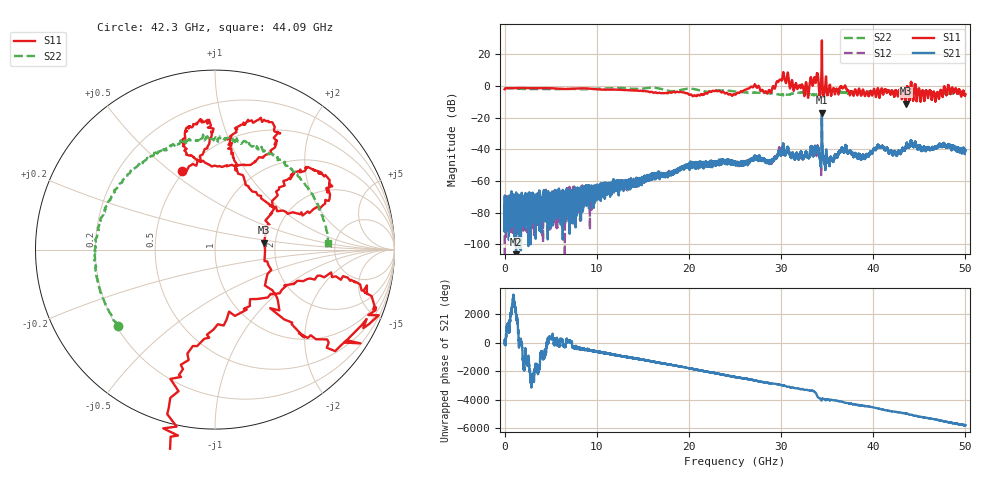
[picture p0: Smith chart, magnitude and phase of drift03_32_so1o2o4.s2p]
!Created with skrf (http://scikit-rf.org).
# Hz S RI R 50.0
!freq ReS11 ImS11 ReS21 ImS21 ReS12 ImS12 ReS22 ImS22
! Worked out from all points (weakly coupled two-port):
!   10000 points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, 5.3 MHz to 50 GHz, reference 50 ohm
!   highest |S21| = -16.91 dB at 34.43 GHz (marker M1); lowest = -111.4 dB at 1.25 GHz (marker M2)
!   lowest |S11| = -11.1 dB at 43.52 GHz (marker M3), VSWR 1.77, Z = 87.5 + j7.46 ohm
!   |S11| at or under -10 dB: 43.49351 GHz to 43.54175 GHz (48.24 MHz wide, 0.111 % of centre); 46.74975 GHz to 46.75042 GHz (667.7 kHz wide, 0.00143 % of centre)
!   |S22| runs from -5.8 to -1.1 dB; largest |S21 - S12| = 0.038
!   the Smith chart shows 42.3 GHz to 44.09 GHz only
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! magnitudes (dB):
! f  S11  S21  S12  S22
! 5.3 MHz  -2.1  -76.6  -107.8  -1.3
! 1.25 GHz  -1.4  -111.4  -85.3  -1.7
! 8.34 GHz  -1.5  -69.4  -67.2  -2.1
! 16.67 GHz  -4.4  -57.2  -55.8  -1.5
! 20.26 GHz  -5.4  -49.4  -49.8  -1.8
! 25.01 GHz  -5.5  -49.9  -48.8  -3.5
! 27.02 GHz  -0.4  -45.1  -45.7  -4.3
! 28.72 GHz  -2.5  -46.9  -48.7  -4.5
! 30.14 GHz  4.4  -40.0  -40.5  -5.7
! 32.74 GHz  2.0  -41.9  -42.1  -4.6
! 33.34 GHz  2.6  -40.0  -40.1  -5.5
! 33.82 GHz  4.0  -42.1  -41.4  -5.7
! 34.43 GHz  28.7  -16.9  -18.8  -4.6
! 35.3 GHz  0.6  -48.3  -47.1  -3.4
! 36.85 GHz  -0.7  -42.0  -41.6  -4.3
! 38.86 GHz  -2.7  -43.8  -44.0  -3.2
! 40.57 GHz  -2.9  -37.4  -38.1  -4.0
! 41.67 GHz  -3.0  -41.8  -42.4  -3.3
! 43.52 GHz  -11.1  -39.0  -38.8  -4.0
! 46.94 GHz  -4.0  -39.3  -38.9  -4.8
! 48.32 GHz  -4.5  -38.1  -38.6  -4.6
! 50 GHz  -5.2  -40.7  -41.0  -4.5
